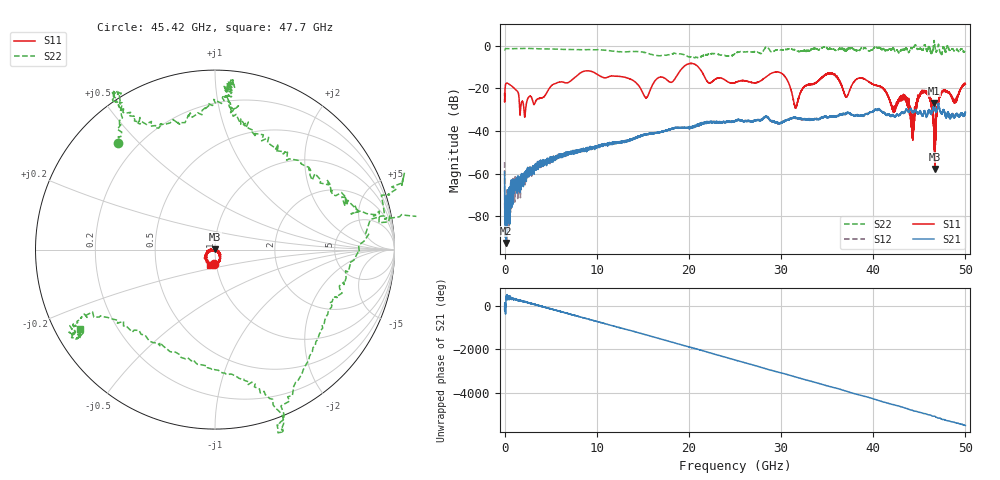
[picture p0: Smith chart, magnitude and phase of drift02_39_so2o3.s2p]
!Created with skrf (http://scikit-rf.org).
# Hz S RI R 50.0
!freq ReS11 ImS11 ReS21 ImS21 ReS12 ImS12 ReS22 ImS22
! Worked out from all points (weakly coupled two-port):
!   10001 points, 300 kHz to 50 GHz, reference 50 ohm
!   highest |S21| = -26.88 dB at 46.61 GHz (marker M1); lowest = -92.5 dB at 180.3 MHz (marker M2)
!   lowest |S11| = -57.8 dB at 46.68 GHz (marker M3), VSWR 1.00, Z = 50.1 + j0.103 ohm
!   |S11| at or under -10 dB: start of sweep to 19.42 GHz; 21.01 GHz to end of sweep
!   |S22| runs from -5.7 to 2.4 dB; largest |S21 - S12| = 0.0034
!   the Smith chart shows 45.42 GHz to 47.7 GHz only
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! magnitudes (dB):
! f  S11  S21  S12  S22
! 300 kHz  -22.5  -59.2  -54.6  -2.1
! 180.3 MHz  -17.7  -92.5  -70.4  -1.4
! 2.185 GHz  -33.6  -60.7  -63.9  -1.3
! 8.335 GHz  -12.5  -49.0  -49.0  -1.9
! 15.34 GHz  -24.5  -41.6  -41.5  -3.4
! 16.67 GHz  -15.1  -40.9  -40.9  -4.7
! 20.29 GHz  -8.4  -38.0  -38.1  -5.5
! 25 GHz  -17.4  -35.4  -35.4  -3.9
! 29.85 GHz  -12.6  -36.5  -36.5  -2.0
! 31.59 GHz  -29.0  -33.7  -34.2  -2.4
! 33.34 GHz  -18.1  -34.6  -34.4  -1.6
! 35.59 GHz  -13.3  -33.2  -33.2  -1.6
! 37.1 GHz  -24.2  -31.6  -31.6  -2.2
! 38.77 GHz  -15.3  -32.8  -32.7  -1.0
! 41.67 GHz  -24.2  -32.2  -32.3  -1.8
! 43.43 GHz  -24.5  -31.1  -31.2  -1.8
! 44.24 GHz  -38.2  -31.1  -31.0  -1.4
! 45.69 GHz  -21.6  -32.4  -32.2  -0.6
! 46.61 GHz  -40.2  -26.9  -26.7  2.4
! 46.68 GHz  -57.8  -28.8  -28.7  0.1
! 47.47 GHz  -21.8  -31.8  -31.3  -3.3
! 50 GHz  -18.1  -31.2  -31.3  -2.6
